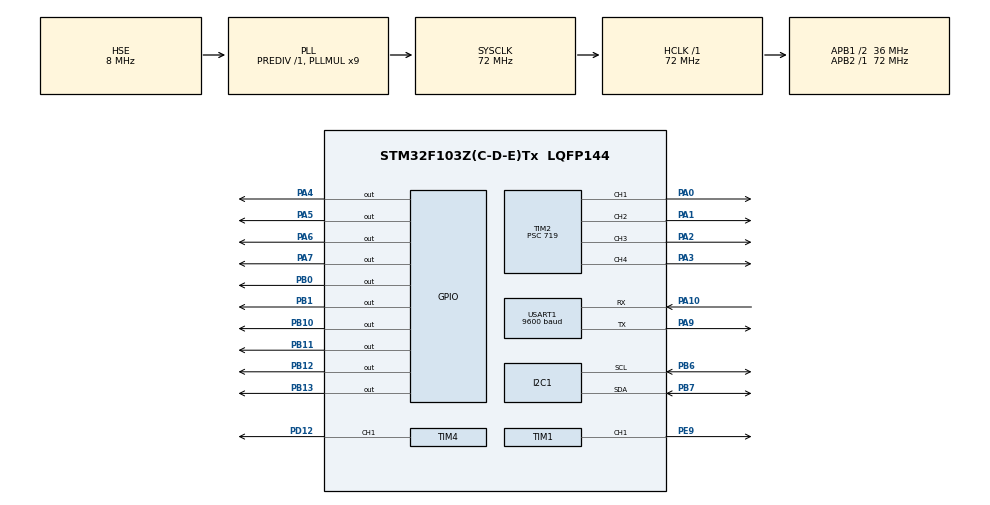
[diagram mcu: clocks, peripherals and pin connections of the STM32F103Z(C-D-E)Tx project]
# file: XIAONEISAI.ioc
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Mcu.Family=STM32F1
Mcu.Name=STM32F103Z(C-D-E)Tx
Mcu.Package=LQFP144
NVIC.PriorityGroup=NVIC_PRIORITYGROUP_4
NVIC.TIM3_IRQn=true\:0\:0\:false\:false\:true\:true\:true\:true
NVIC.USART1_IRQn=true\:0\:0\:false\:false\:true\:true\:true\:true
OSC_IN.Mode=HSE-External-Oscillator
OSC_IN.Signal=RCC_OSC_IN
OSC_OUT.Mode=HSE-External-Oscillator
OSC_OUT.Signal=RCC_OSC_OUT
PA0-WKUP.Signal=S_TIM2_CH1_ETR
PA1.Signal=S_TIM2_CH2
PA10.Mode=Asynchronous
PA10.Signal=USART1_RX
PA13.Mode=Serial_Wire
PA13.Signal=SYS_JTMS-SWDIO
PA14.Mode=Serial_Wire
PA14.Signal=SYS_JTCK-SWCLK
PA2.Signal=S_TIM2_CH3
PA3.Signal=S_TIM2_CH4
PA4.Signal=GPIO_Output
PA5.Signal=GPIO_Output
PA6.Signal=GPIO_Output
PA7.Signal=GPIO_Output
PA9.Mode=Asynchronous
PA9.Signal=USART1_TX
PB0.PinState=GPIO_PIN_SET
PB0.Signal=GPIO_Output
PB1.PinState=GPIO_PIN_SET
PB1.Signal=GPIO_Output
PB10.Signal=GPIO_Output
PB11.Signal=GPIO_Output
PB12.Signal=GPIO_Output
PB13.Signal=GPIO_Output
PB6.Mode=I2C
PB6.Signal=I2C1_SCL
PB7.Mode=I2C
PB7.Signal=I2C1_SDA
PD12.Signal=S_TIM4_CH1
PE9.Signal=S_TIM1_CH1
ProjectManager.HeapSize=0x200
ProjectManager.StackSize=0x400
ProjectManager.TargetToolchain=MDK-ARM V5.32
RCC.AHBFreq_Value=72000000
RCC.APB1CLKDivider=RCC_HCLK_DIV2
RCC.APB1Freq_Value=36000000
RCC.APB1TimFreq_Value=72000000
RCC.APB2Freq_Value=72000000
RCC.APB2TimFreq_Value=72000000
RCC.HCLKFreq_Value=72000000
RCC.PLLMUL=RCC_PLL_MUL9
RCC.PLLSourceVirtual=RCC_PLLSOURCE_HSE
RCC.SYSCLKFreq_VALUE=72000000
RCC.SYSCLKSource=RCC_SYSCLKSOURCE_PLLCLK
RCC.USBFreq_Value=72000000
SH.S_TIM1_CH1.0=TIM1_CH1,PWM Generation1 CH1
SH.S_TIM2_CH1_ETR.0=TIM2_CH1,PWM Generation1 CH1
SH.S_TIM2_CH2.0=TIM2_CH2,PWM Generation2 CH2
SH.S_TIM2_CH3.0=TIM2_CH3,PWM Generation3 CH3
SH.S_TIM2_CH4.0=TIM2_CH4,PWM Generation4 CH4
SH.S_TIM4_CH1.0=TIM4_CH1,PWM Generation1 CH1
TIM1.Channel-PWM\ Generation1\ CH1=TIM_CHANNEL_1
TIM1.Period=1000-1
TIM1.Prescaler=72-1
TIM2.Channel-PWM\ Generation1\ CH1=TIM_CHANNEL_1
TIM2.Channel-PWM\ Generation2\ CH2=TIM_CHANNEL_2
TIM2.Channel-PWM\ Generation3\ CH3=TIM_CHANNEL_3
TIM2.Channel-PWM\ Generation4\ CH4=TIM_CHANNEL_4
TIM2.Prescaler=719
TIM4.Channel-PWM\ Generation1\ CH1=TIM_CHANNEL_1
TIM4.Period=2000-1
TIM4.Prescaler=720-1
USART1.BaudRate=9600
USART1.VirtualMode=VM_ASYNC
VP_TIM1_VS_ClockSourceINT.Mode=Internal
VP_TIM2_VS_ClockSourceINT.Mode=Internal
VP_TIM3_VS_ClockSourceINT.Mode=Internal
VP_TIM4_VS_ClockSourceINT.Mode=Internal
board=custom

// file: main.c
/* USER CODE BEGIN Header */
/**
  ******************************************************************************
  * @file           : main.c
  * @brief          : Main program body
  ******************************************************************************
  * @attention
  *
  * Copyright (c) 2025 STMicroelectronics.
  * All rights reserved.
  *
  * This software is licensed under terms that can be found in the LICENSE file
  * in the root directory of this software component.
  * If no LICENSE file comes with this software, it is provided AS-IS.
  *
  ******************************************************************************
  */
/* USER CODE END Header */
#include "main.h"
#include "i2c.h"
#include "tim.h"
#include "usart.h"
#include "gpio.h"

/* USER CODE BEGIN Includes */
#include "move.h"
#include "mpu6050.h"
#include "Catch.h"
/* USER CODE END Includes */

/* USER CODE BEGIN PD */
#define CATCH_MOVE 500

/* USER CODE END PD */

void SystemClock_Config(void);
/* USER CODE BEGIN PFP */
void LFMotor(int8_t speed);
void RFMotor(int8_t speed);
void LBMotor(int8_t speed);
void RBMotor(int8_t speed);
void Brake(void);
/* USER CODE END PFP */

/* USER CODE BEGIN 0 */
uint8_t recieveData[7];
uint8_t Catchsg90 ;
uint32_t timeout = 0;
uint8_t current_move ;
float initial_yaw = 0.0f;
int base_speed = 50;
MPU6050_CalibData mpu_calib;
float current_yaw = 0.0f;
/* USER CODE END 0 */

int main(void)
{

  /* MCU Configuration--------------------------------------------------------*/

  /* Reset of all peripherals, Initializes the Flash interface and the Systick. */
  HAL_Init();

  /* Configure the system clock */
  SystemClock_Config();

  /* Initialize all configured peripherals */
  MX_GPIO_Init();
  MX_I2C1_Init();
  MX_TIM2_Init();
  MX_TIM3_Init();
  MX_USART1_UART_Init();
  MX_TIM1_Init();
  MX_TIM4_Init();
  /* USER CODE BEGIN 2 */
	MPU6050_CalibData mpu_calib;
	if(MPU6050_Init(&hi2c1, &mpu_calib) != HAL_OK)
	{
		while(1);
	}
	HAL_Delay(1000);
	MPU6050_Calibrate(&hi2c1, &mpu_calib);
	HAL_TIM_Base_Start_IT(&htim2);
	HAL_TIM_PWM_Start(&htim2, TIM_CHANNEL_1);//时钟二pwm初始化（底盘）
	HAL_TIM_PWM_Start(&htim2, TIM_CHANNEL_2);
	HAL_TIM_PWM_Start(&htim2, TIM_CHANNEL_3);
	HAL_TIM_PWM_Start(&htim2, TIM_CHANNEL_4);
	HAL_TIM_PWM_Start(&htim1, TIM_CHANNEL_1);//时钟一pwm初始化（舵机）
	HAL_TIM_PWM_Start(&htim4, TIM_CHANNEL_1);//时钟四pwm初始化（丝杆）
	Brake();//设置初始状态为刹停
	__HAL_TIM_SET_COMPARE(&htim1,TIM_CHANNEL_1,CATCH_MOVE);
	__HAL_TIM_SET_AUTORELOAD(&htim4,2000-1);
	HAL_UART_Receive_IT(&huart1, recieveData, sizeof(recieveData));
	timeout = HAL_GetTick();
  /* USER CODE END 2 */

  /* Infinite loop */
  /* USER CODE BEGIN WHILE */
  while (1)
  {
		if(HAL_GetTick() - timeout > 100)
		{
			Brake();
		}
    /* USER CODE END WHILE */

  }
}

void SystemClock_Config(void)
{
  RCC_OscInitTypeDef RCC_OscInitStruct = {0};
  RCC_ClkInitTypeDef RCC_ClkInitStruct = {0};

  /** Initializes the RCC Oscillators according to the specified parameters
  * in the RCC_OscInitTypeDef structure.
  */
  RCC_OscInitStruct.OscillatorType = RCC_OSCILLATORTYPE_HSE;
  RCC_OscInitStruct.HSEState = RCC_HSE_ON;
  RCC_OscInitStruct.HSEPredivValue = RCC_HSE_PREDIV_DIV1;
  RCC_OscInitStruct.HSIState = RCC_HSI_ON;
  RCC_OscInitStruct.PLL.PLLState = RCC_PLL_ON;
  RCC_OscInitStruct.PLL.PLLSource = RCC_PLLSOURCE_HSE;
  RCC_OscInitStruct.PLL.PLLMUL = RCC_PLL_MUL9;
  if (HAL_RCC_OscConfig(&RCC_OscInitStruct) != HAL_OK)
  {
    Error_Handler();
  }

  /** Initializes the CPU, AHB and APB buses clocks
  */
  RCC_ClkInitStruct.ClockType = RCC_CLOCKTYPE_HCLK|RCC_CLOCKTYPE_SYSCLK
                              |RCC_CLOCKTYPE_PCLK1|RCC_CLOCKTYPE_PCLK2;
  RCC_ClkInitStruct.SYSCLKSource = RCC_SYSCLKSOURCE_PLLCLK;
  RCC_ClkInitStruct.AHBCLKDivider = RCC_SYSCLK_DIV1;
  RCC_ClkInitStruct.APB1CLKDivider = RCC_HCLK_DIV2;
  RCC_ClkInitStruct.APB2CLKDivider = RCC_HCLK_DIV1;

  if (HAL_RCC_ClockConfig(&RCC_ClkInitStruct, FLASH_LATENCY_2) != HAL_OK)
  {
    Error_Handler();
  }
}

/* USER CODE BEGIN 4 */
void HAL_UART_RxCpltCallback(UART_HandleTypeDef *huart)
{
	Catch_hand(recieveData[1]); //抓取

	Catch_move(recieveData[2],recieveData[3]); //爪移动

	switch(recieveData[4]) //整车移动
		{
			case 87:
				current_move = 87;
				initial_yaw = current_yaw;
				timeout = HAL_GetTick();
				break;
			case 83:
				current_move = 83;
				initial_yaw = current_yaw;
				timeout = HAL_GetTick();
				break;
			case 65:
				current_move = 65;
				initial_yaw = current_yaw;
				timeout = HAL_GetTick();
				break;
			case 68:
				current_move = 68;
				initial_yaw = current_yaw;
				timeout = HAL_GetTick();
				break;
			case 81:
				current_move = 81;
				initial_yaw = current_yaw;
				timeout = HAL_GetTick();
				break;
			case 69:
				current_move = 69;
				initial_yaw = current_yaw;
				timeout = HAL_GetTick();
				break;
			default:
				current_move = 0;
				Brake();
		}
		HAL_UART_Receive_IT(&huart1, recieveData, sizeof(recieveData));
}

float Yaw_PID(float target_yaw, float current_yaw)
{
  static float last_error = 0, integral = 0;
  float error = target_yaw - current_yaw;

  if (error > 180) error -= 360;
  if (error < -180) error += 360;

  float P = 2.5f * error;
  integral += error * 0.01f;
  integral = (integral > 50) ? 50 : integral;
  integral = (integral < -50) ? -50 : integral;
  float I = 0.05f * integral;
  float D = 0.6f * (error - last_error) / 0.01f;
  last_error = error;

  return P + I + D;
}

void HAL_TIM_PeriodElapsedCallback(TIM_HandleTypeDef *htim) {
  if (htim->Instance == TIM3)
	{
    MPU6050_SensorData mpu_data;
    MPU6050_ReadSensorData(&hi2c1, &mpu_calib, &mpu_data);

    static float yaw = 0;
    yaw += mpu_data.gyro_z * 0.01f;
    current_yaw = yaw;

    if (current_move != 0)
		{
      float target_yaw = initial_yaw;
      float pid_comp = Yaw_PID(target_yaw, current_yaw);
      int left_speed = base_speed + pid_comp;
      int right_speed = base_speed - pid_comp;

      switch(current_move)
			{
        case 87:
          LFMotor(left_speed); RFMotor(right_speed);
          LBMotor(left_speed); RBMotor(right_speed);
          break;
        case 83:
          LFMotor(-left_speed); RFMotor(-right_speed);
          LBMotor(-left_speed); RBMotor(-right_speed);
          break;
        case 65:
          LFMotor(-left_speed); RFMotor(right_speed);
          LBMotor(left_speed); RBMotor(-right_speed);
          break;
        case 68:
          LFMotor(left_speed); RFMotor(-right_speed);
          LBMotor(-left_speed); RBMotor(right_speed);
          break;
        case 81:
          LFMotor(-left_speed); RFMotor(left_speed);
          LBMotor(-left_speed); RBMotor(left_speed);
          break;
        case 69:
          LFMotor(left_speed); RFMotor(-left_speed);
          LBMotor(left_speed); RBMotor(-left_speed);
          break;
      }
    }
  }
}
/* USER CODE END 4 */

void Error_Handler(void)
{
  __disable_irq();
  while (1)
  {
  }
}
